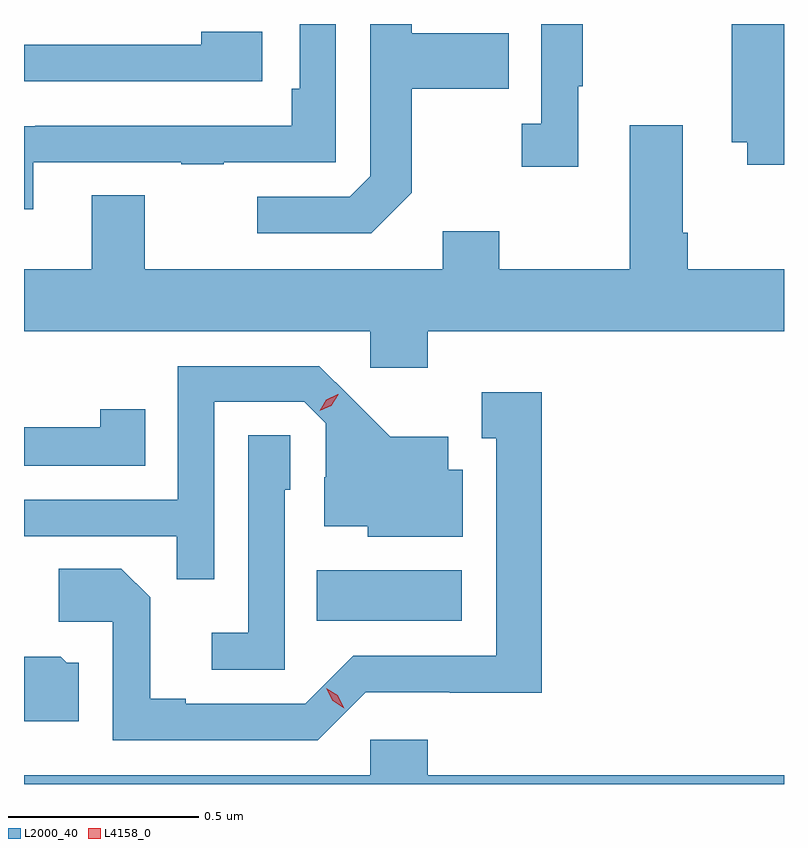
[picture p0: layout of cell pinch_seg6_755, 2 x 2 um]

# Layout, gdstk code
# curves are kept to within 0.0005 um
import gdstk
lib = gdstk.Library(unit=1e-6, precision=1e-09)
def R(c, l, rs):  # rectangles x0, y0, x1, y1
    for r in rs: c.add(gdstk.rectangle(r[:2], r[2:], *l))
def P(c, l, *ps):  # polygons
    for p in ps: c.add(gdstk.Polygon(p, *l))
L2000_40 = (2000, 40)
L4158_0 = (4158, 0)

pinch_seg6_755 = lib.new_cell('pinch_seg6_755')
R(pinch_seg6_755, L2000_40, [(614.446,942.578,614.827,942.712)])
P(pinch_seg6_755, L2000_40, [(614.695,943.705),(614.695,943.978),(614.951,943.978),(614.951,944.125),(614.695,944.125),(614.695,944.149),(614.586,944.149),(614.586,943.749),(614.532,943.695),(614.289,943.695),(614.289,943.599),(614.589,943.599)],
  [(615.133,943.985),(615.145,943.985),(615.145,944.149),(615.036,944.149),(615.036,943.886),(614.985,943.886),(614.985,943.773),(615.133,943.773)],
  [(615.675,944.149),(615.538,944.149),(615.538,943.838),(615.578,943.838),(615.578,943.779),(615.675,943.779)],
  [(613.699,943.785),(614.089,943.785),(614.089,943.78),(614.201,943.78),(614.201,943.785),(614.496,943.785),(614.496,944.149),(614.4,944.149),(614.4,943.978),(614.38,943.978),(614.38,943.881),(613.705,943.881),(613.705,943.88),(613.675,943.88),(613.675,943.662),(613.699,943.662)],
  [(614.302,944.128),(614.141,944.128),(614.141,944.094),(613.675,944.094),(613.675,943.998),(614.302,943.998)],
  [(614.738,943.34),(615.675,943.34),(615.675,943.504),(615.422,943.504),(615.422,943.6),(615.409,943.6),(615.409,943.882),(615.269,943.882),(615.269,943.504),(614.925,943.504),(614.925,943.603),(614.777,943.603),(614.777,943.504),(613.993,943.504),(613.993,943.699),(613.853,943.699),(613.853,943.504),(613.675,943.504),(613.675,943.34),(614.586,943.34),(614.586,943.245),(614.738,943.245)],
  [(614.175,943.155),(614.412,943.155),(614.469,943.098),(614.469,942.956),(614.465,942.956),(614.465,942.827),(614.58,942.827),(614.58,942.8),(614.83,942.8),(614.83,942.976),(614.791,942.976),(614.791,943.063),(614.639,943.063),(614.452,943.248),(614.079,943.248),(614.079,942.897),(613.675,942.897),(613.675,942.801),(614.077,942.801),(614.077,942.688),(614.175,942.688)],
  [(614.574,942.39),(614.796,942.39),(614.796,942.389),(615.037,942.389),(615.037,943.18),(614.879,943.18),(614.879,943.059),(614.918,943.059),(614.918,942.486),(614.541,942.486),(614.415,942.36),(614.101,942.36),(614.101,942.373),(614.007,942.373),(614.007,942.64),(613.931,942.716),(613.767,942.716),(613.767,942.576),(613.908,942.576),(613.908,942.264),(614.448,942.264)],
  [(613.994,943.135),(613.876,943.135),(613.876,943.088),(613.675,943.088),(613.675,942.987),(613.994,942.987)],
  [(614.361,942.924),(614.376,942.924),(614.376,943.067),(614.265,943.067),(614.265,942.547),(614.169,942.547),(614.169,942.45),(614.361,942.45)],
  [(613.819,942.468),(613.788,942.468),(613.772,942.484),(613.675,942.484),(613.675,942.314),(613.819,942.314)],
  [(615.675,942.172),(614.738,942.172),(614.738,942.265),(614.586,942.265),(614.586,942.172),(613.675,942.172),(613.675,942.149),(615.675,942.149)])
P(pinch_seg6_755, L4158_0, [(614.518,942.349),(614.487,942.368),(614.47,942.401),(614.47,942.401),(614.47,942.401),(614.501,942.382),(614.518,942.349),(614.518,942.349)],
  [(614.453,943.131),(614.453,943.131),(614.471,943.16),(614.501,943.175),(614.502,943.175),(614.502,943.174),(614.484,943.145),(614.453,943.131)])

lib.write_gds('pinch_seg6_755.gds')
